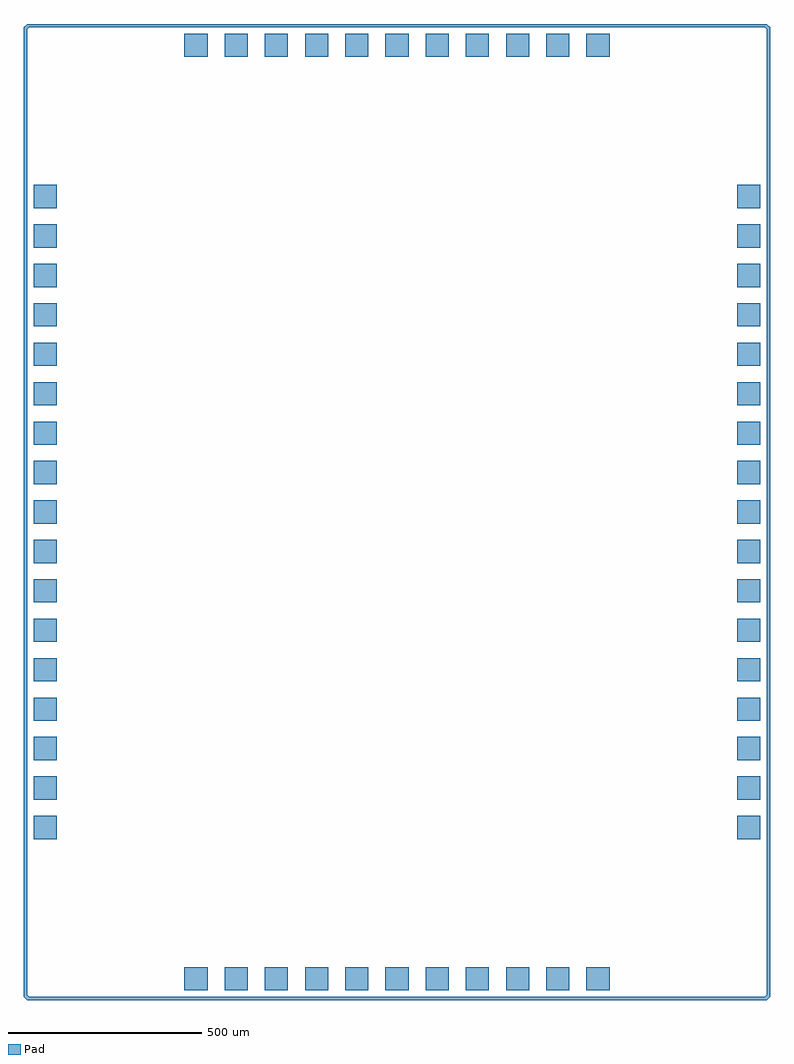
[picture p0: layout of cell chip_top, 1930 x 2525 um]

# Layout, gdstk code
import gdstk
lib = gdstk.Library(unit=1e-6, precision=1e-09)
def R(c, l, rs):  # rectangles x0, y0, x1, y1
    for r in rs: c.add(gdstk.rectangle(r[:2], r[2:], *l))
def A(c, l, x, y, w, h, nx, ny, dx, dy):  # array of equal rectangles
    R(c, l, [(x+i*dx, y+j*dy, x+i*dx+w, y+j*dy+h) for i in range(nx) for j in range(ny)])
def P(c, l, *ps):  # polygons
    for p in ps: c.add(gdstk.Polygon(p, *l))
Pad = (37, 0)

chip_top = lib.new_cell('chip_top')
A(chip_top, Pad, 418, 28, 60, 60, 11, 2, 104, 2415)
A(chip_top, Pad, 28, 419.5, 60, 60, 1, 17, 0, 102)
A(chip_top, Pad, 1848, 419.5, 60, 60, 1, 17, 0, 102)
P(chip_top, Pad, [(12,3),(3,12),(3,2519),(16,2519),(12,2515),(12,16),(16,12),(1920,12),(1924,16),(1924,2515),(1920,2519),(3,2519),(12,2528),(1924,2528),(1933,2519),(1933,12),(1924,3)])

lib.write_gds('chip_top.gds')
